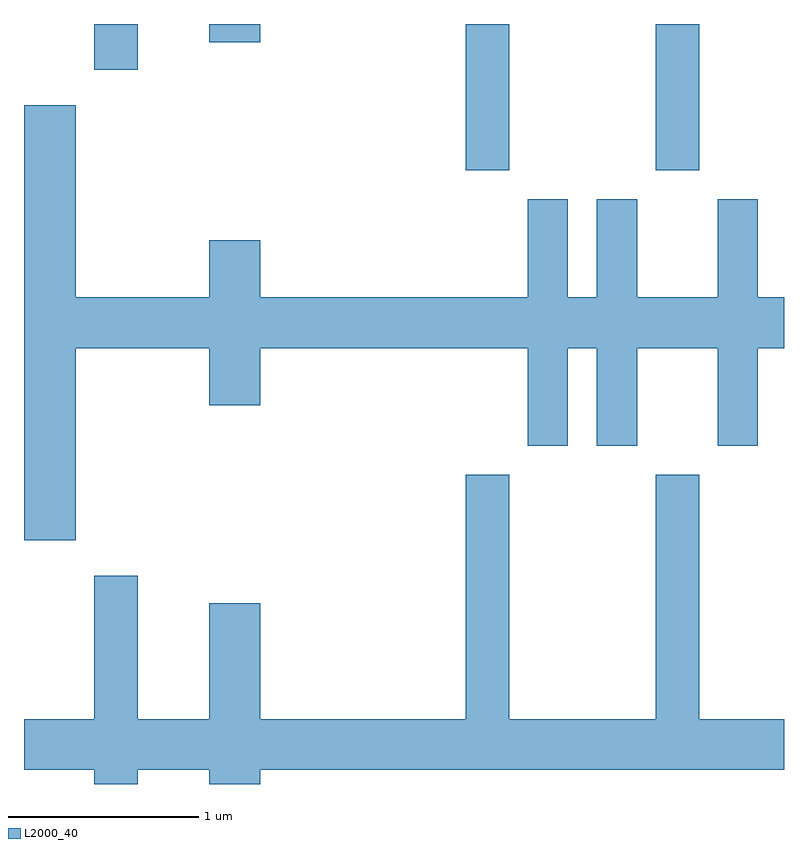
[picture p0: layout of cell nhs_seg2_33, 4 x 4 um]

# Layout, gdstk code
import gdstk
lib = gdstk.Library(unit=1e-6, precision=1e-09)
def R(c, l, rs):  # rectangles x0, y0, x1, y1
    for r in rs: c.add(gdstk.rectangle(r[:2], r[2:], *l))
def P(c, l, *ps):  # polygons
    for p in ps: c.add(gdstk.Polygon(p, *l))
L2000_40 = (2000, 40)

nhs_seg2_33 = lib.new_cell('nhs_seg2_33')
R(nhs_seg2_33, L2000_40, [(187.936,1047.031,188.164,1047.802), (188.936,1047.031,189.164,1047.802), (185.981,1047.561,186.209,1047.802), (186.586,1047.706,186.854,1047.802)])
P(nhs_seg2_33, L2000_40, [(185.884,1046.096),(186.586,1046.096),(186.586,1045.796),(186.854,1045.796),(186.854,1046.096),(188.261,1046.096),(188.261,1045.581),(188.474,1045.581),(188.474,1046.096),(188.626,1046.096),(188.626,1045.581),(188.839,1045.581),(188.839,1046.096),(189.261,1046.096),(189.261,1045.581),(189.474,1045.581),(189.474,1046.096),(189.611,1046.096),(189.611,1046.364),(189.474,1046.364),(189.474,1046.879),(189.261,1046.879),(189.261,1046.364),(188.839,1046.364),(188.839,1046.879),(188.626,1046.879),(188.626,1046.364),(188.474,1046.364),(188.474,1046.879),(188.261,1046.879),(188.261,1046.364),(186.854,1046.364),(186.854,1046.664),(186.586,1046.664),(186.586,1046.364),(185.884,1046.364),(185.884,1047.374),(185.611,1047.374),(185.611,1045.086),(185.884,1045.086)],
  [(186.209,1043.876),(186.586,1043.876),(186.586,1043.802),(186.854,1043.802),(186.854,1043.876),(189.611,1043.876),(189.611,1044.144),(189.164,1044.144),(189.164,1045.429),(188.936,1045.429),(188.936,1044.144),(188.164,1044.144),(188.164,1045.429),(187.936,1045.429),(187.936,1044.144),(186.854,1044.144),(186.854,1044.754),(186.586,1044.754),(186.586,1044.144),(186.209,1044.144),(186.209,1044.899),(185.981,1044.899),(185.981,1044.144),(185.611,1044.144),(185.611,1043.876),(185.981,1043.876),(185.981,1043.802),(186.209,1043.802)])

lib.write_gds('nhs_seg2_33.gds')
